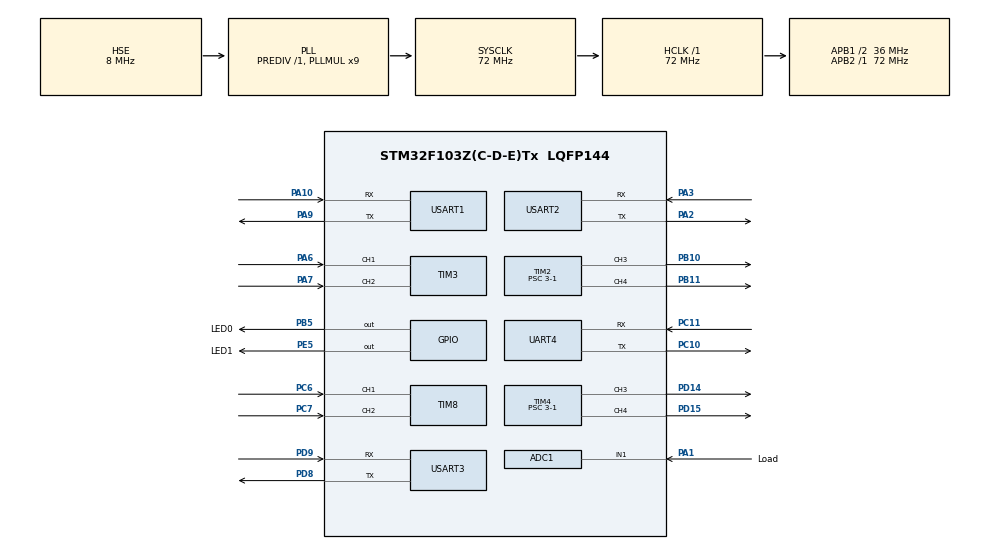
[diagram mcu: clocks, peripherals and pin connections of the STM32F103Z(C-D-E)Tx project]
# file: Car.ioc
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ADC1.Channel-0\#ChannelRegularConversion=ADC_CHANNEL_1
ADC1.NbrOfConversionFlag=1
ADC1.Rank-0\#ChannelRegularConversion=1
ADC1.SamplingTime-0\#ChannelRegularConversion=ADC_SAMPLETIME_1CYCLE_5
ADC1.master=1
Mcu.Family=STM32F1
Mcu.Name=STM32F103Z(C-D-E)Tx
Mcu.Package=LQFP144
NVIC.PriorityGroup=NVIC_PRIORITYGROUP_2
NVIC.TIM6_IRQn=true\:3\:0\:true\:false\:true\:true\:true
NVIC.TIM7_IRQn=true\:1\:0\:true\:false\:true\:true\:true
NVIC.UART4_IRQn=true\:1\:2\:true\:false\:true\:true\:true
NVIC.USART1_IRQn=true\:3\:3\:true\:false\:true\:true\:true
NVIC.USART2_IRQn=true\:2\:0\:true\:false\:true\:true\:true
NVIC.USART3_IRQn=true\:2\:1\:true\:false\:true\:true\:true
OSC_IN.Mode=HSE-External-Oscillator
OSC_IN.Signal=RCC_OSC_IN
OSC_OUT.Mode=HSE-External-Oscillator
OSC_OUT.Signal=RCC_OSC_OUT
PA1.GPIO_Label=Load
PA1.Signal=ADCx_IN1
PA10.Mode=Asynchronous
PA10.Signal=USART1_RX
PA13.Mode=Serial_Wire
PA13.Signal=SYS_JTMS-SWDIO
PA14.Mode=Serial_Wire
PA14.Signal=SYS_JTCK-SWCLK
PA2.Mode=Asynchronous
PA2.Signal=USART2_TX
PA3.Mode=Asynchronous
PA3.Signal=USART2_RX
PA6.Signal=S_TIM3_CH1
PA7.Signal=S_TIM3_CH2
PA9.Mode=Asynchronous
PA9.Signal=USART1_TX
PB10.Signal=S_TIM2_CH3
PB11.Signal=S_TIM2_CH4
PB5.GPIO_Label=LED0
PB5.GPIO_PuPd=GPIO_PULLUP
PB5.Signal=GPIO_Output
PC10.Mode=Asynchronous
PC10.Signal=UART4_TX
PC11.Mode=Asynchronous
PC11.Signal=UART4_RX
PC6.Signal=S_TIM8_CH1
PC7.Signal=S_TIM8_CH2
PD14.Signal=S_TIM4_CH3
PD15.Signal=S_TIM4_CH4
PD8.Mode=Asynchronous
PD8.Signal=USART3_TX
PD9.Mode=Asynchronous
PD9.Signal=USART3_RX
PE5.GPIO_Label=LED1
PE5.GPIO_PuPd=GPIO_PULLUP
PE5.Signal=GPIO_Output
ProjectManager.HeapSize=0x200
ProjectManager.StackSize=0x400
ProjectManager.TargetToolchain=MDK-ARM V5.32
RCC.ADCPresc=RCC_ADCPCLK2_DIV6
RCC.AHBFreq_Value=72000000
RCC.APB1CLKDivider=RCC_HCLK_DIV2
RCC.APB1Freq_Value=36000000
RCC.APB1TimFreq_Value=72000000
RCC.APB2Freq_Value=72000000
RCC.APB2TimFreq_Value=72000000
RCC.HCLKFreq_Value=72000000
RCC.PLLMUL=RCC_PLL_MUL9
RCC.PLLSourceVirtual=RCC_PLLSOURCE_HSE
RCC.SYSCLKFreq_VALUE=72000000
RCC.SYSCLKSource=RCC_SYSCLKSOURCE_PLLCLK
RCC.USBFreq_Value=72000000
SH.ADCx_IN1.0=ADC1_IN1,IN1
SH.S_TIM2_CH3.0=TIM2_CH3,PWM Generation3 CH3
SH.S_TIM2_CH4.0=TIM2_CH4,PWM Generation4 CH4
SH.S_TIM3_CH1.0=TIM3_CH1,Encoder_Interface
SH.S_TIM3_CH2.0=TIM3_CH2,Encoder_Interface
SH.S_TIM4_CH3.0=TIM4_CH3,PWM Generation3 CH3
SH.S_TIM4_CH4.0=TIM4_CH4,PWM Generation4 CH4
SH.S_TIM8_CH1.0=TIM8_CH1,Encoder_Interface
SH.S_TIM8_CH2.0=TIM8_CH2,Encoder_Interface
TIM2.AutoReloadPreload=TIM_AUTORELOAD_PRELOAD_ENABLE
TIM2.Channel-PWM\ Generation3\ CH3=TIM_CHANNEL_3
TIM2.Channel-PWM\ Generation4\ CH4=TIM_CHANNEL_4
TIM2.Period=1000-1
TIM2.Prescaler=3-1
TIM3.EncoderMode=TIM_ENCODERMODE_TI12
TIM4.AutoReloadPreload=TIM_AUTORELOAD_PRELOAD_ENABLE
TIM4.Channel-PWM\ Generation3\ CH3=TIM_CHANNEL_3
TIM4.Channel-PWM\ Generation4\ CH4=TIM_CHANNEL_4
TIM4.Period=1000-1
TIM4.Prescaler=3-1
TIM6.Period=10000-1
TIM6.Prescaler=7200-1
TIM7.Period=200-1
TIM7.Prescaler=7200-1
TIM8.EncoderMode=TIM_ENCODERMODE_TI12
UART4.VirtualMode=Asynchronous
USART1.VirtualMode=VM_ASYNC
USART2.VirtualMode=VM_ASYNC
USART3.VirtualMode=VM_ASYNC
VP_TIM6_VS_ClockSourceINT.Mode=Enable_Timer
VP_TIM7_VS_ClockSourceINT.Mode=Enable_Timer
board=custom

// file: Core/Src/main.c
/* USER CODE BEGIN Header */
/**
  ******************************************************************************
  * @file           : main.c
  * @brief          : Main program body
  ******************************************************************************
  * @attention
  *
  * <h2><center>&copy; Copyright (c) 2023 STMicroelectronics.
  * All rights reserved.</center></h2>
  *
  * This software component is licensed by ST under BSD 3-Clause license,
  * the "License"; You may not use this file except in compliance with the
  * License. You may obtain a copy of the License at:
  *                        opensource.org/licenses/BSD-3-Clause
  *
  ******************************************************************************
  */
/* USER CODE END Header */
#include "main.h"
#include "adc.h"
#include "tim.h"
#include "usart.h"
#include "gpio.h"

/* USER CODE BEGIN Includes */
//#include "oled.h"
//#include "bsp_key.h"
#include "bsp_sys.h"
#include "bsp_delay.h"
#include "control.h"
#include "bsp_led.h"
//#include "menu.h"
//#include "Fire_protocol.h"

#include "bsp_pid.h"
#include "openmv.h"
#include "openmv2.h"
#include "bsp_GraySensor.h"

//#include "bsp_BlueTooth.h"

/* USER CODE END Includes */

/* USER CODE BEGIN PV */
	uint8_t usart1_rxbuff;
	uint8_t usart2_rxbuff;
	uint8_t usart3_rxbuff;
	uint8_t uart4_rxbuff;

	u8 Do_count = 0, Do2_count = 0;

	u16 showOLEDTime = 0;
	u16 SendTime = 0;

	u16 des = 0;

	extern unsigned char BMP3[];
	extern unsigned char BMP4[];

/* USER CODE END PV */

void SystemClock_Config(void);

int main(void)
{

  /* MCU Configuration--------------------------------------------------------*/

  /* Reset of all peripherals, Initializes the Flash interface and the Systick. */
  HAL_Init();

  /* USER CODE BEGIN Init */
	LED_Init();
  /* USER CODE END Init */

  /* Configure the system clock */
  SystemClock_Config();

  /* Initialize all configured peripherals */
  MX_GPIO_Init();
  MX_TIM2_Init();
  MX_TIM3_Init();
  MX_TIM4_Init();
  MX_TIM6_Init();
  MX_TIM7_Init();
  MX_TIM8_Init();
  MX_USART1_UART_Init();
  MX_UART4_Init();
  MX_ADC1_Init();
  MX_USART2_UART_Init();
  MX_USART3_UART_Init();
  /* USER CODE BEGIN 2 */
	HAL_TIM_Encoder_Start(&htim3, TIM_CHANNEL_ALL);   //??TIM3????????
  HAL_TIM_Encoder_Start(&htim8, TIM_CHANNEL_ALL);   //??TIM8????????

	HAL_TIM_PWM_Start(&htim2,TIM_CHANNEL_3);       //Motor 2
	HAL_TIM_PWM_Start(&htim2,TIM_CHANNEL_4);

	HAL_TIM_PWM_Start(&htim4,TIM_CHANNEL_3);     //Motor1
	HAL_TIM_PWM_Start(&htim4,TIM_CHANNEL_4);

	HAL_TIM_Base_Start_IT(&htim7);
	HAL_TIM_Base_Start_IT(&htim6);

	PID_param_init();
	set_motor2_enable();    //?????pid???????????PWM??
	set_motor_enable();

	__HAL_UART_ENABLE_IT(&huart1,UART_IT_RXNE);    //??1????,???????,??????

	//protocol_init();       //????????????????, ????????
	HAL_UART_Receive_IT(&huart4,(void *)&uart4_rxbuff,1);
	HAL_UART_Receive_IT(&huart1,(void *)&usart1_rxbuff,1);
	HAL_UART_Receive_IT(&huart2,(void *)&usart2_rxbuff,1);
	HAL_UART_Receive_IT(&huart3,(void *)&usart3_rxbuff,1);
  /* USER CODE END 2 */

  /* Infinite loop */
  /* USER CODE BEGIN WHILE */
  while (1)
  {
//		receiving_process();   //???????????,??????????PID??
		if (SendTime >= 21)
		{
			SendTime = 0;

//			SendDataToOpenmv();   //不能太快，否则会超过openmv的接收数据缓冲区
//			SendDataToOpenmv2();

		}

		if (showOLEDTime >= 200)
		{
			showOLEDTime = 0;
			//OLED_Display(Menu_Item);

			//			if(OneLoadFlag == 1)
			//			{
			//				BlueSignal_Toggle;
			//			}
						//printf("123");

						/****判断是否有放药品******/
			LoadOrNot();
		}

		/**************等待识别病房号**************/
		if (TASK == 1)
		{
			SetTargetRoom();

		}

		else if (TASK == 2)
		{
			//加上发送给openmv 的数据
			if (Load_flag == 1)    //运送药物
			{
				//近端病房，靠openmv规划	， 用来测试二车性能
				if (TargetRoom == 1)
				{
					switch (Do_count)
					{
					case 0:
						Do_count++;
						Car_go_new();   //此时 Stop_Flag ==0  完成后自动置1        //近端病房不预留openmv识别的位置

						break;

					case 1:
						if (Stop_Flag == 1)          //直行、转弯函数交替使用时，可以不手动将标志位清零
						{
							Do_count++;
							spin_Turn(left_90);   //此时Spin_succeed_flag== 0 ,完成后自动置1
						}
						break;

					case 2:
						if (Spin_succeed_flag == 1)
						{
							Do_count++;
							Car_go_new();      //Stop_Flag再次置1   +3是为了进停车区
						}
						break;

					case	3:
						if (Stop_Flag == 1)
						{
							RedSignal_on;//点亮红色指示灯
							des = 1;
						}
						break;
					}
				}

				else if (TargetRoom == 2)
				{
					switch (Do_count)
					{
					case 0:
						Do_count++;

						Car_go_new();  //此时 Stop_Flag ==0  完成后自动置1        //近端病房不预留openmv识别的位置

						break;

					case 1:
						if (Stop_Flag == 1)
						{
							Do_count++;
							spin_Turn(right_90);   //此时Spin_succeed_flag== 0 ,完成后自动置1
						}
						break;

					case 2:
						if (Spin_succeed_flag == 1)
						{
							Do_count++;
							Car_go_new();;        //Stop_Flag再次置1   +3是为了进停车区
						}
						break;

					case	3:
						if (Stop_Flag == 1)
						{

							RedSignal_on;
							des = 2;
						}
						break;
					}
				}

//				if (OneLoadFlag == 1)
//				{
//					//去中端送药，靠一车等待目标房号来确定，不用返回
				if (TargetRoom == 3 ||
						TargetRoom == 4 ||
						TargetRoom == 5 ||
						TargetRoom == 6 ||
						TargetRoom == 7 ||
						TargetRoom == 8 )
				{
					switch (Do_count)
					{
					case 0://第一段直线
						Do_count++;
						Car_go_new();    //此时 Stop_Flag ==0  完成后自动置1        //近端病房不预留openmv识别的位置

						break;

					case 1:
						if (Stop_Flag == 1)
						{
							Do_count++;
							Car_go(10);   //此时Spin_succeed_flag== 0 ,完成后自动置1

						}
						break;

					case 2://第二段直线
						Do_count++;
						Car_go_new();    //此时 Stop_Flag ==0  完成后自动置1        //近端病房不预留openmv识别的位置

						break;

					case 3:
						if(TargetRoom == l1)
							Do_count = 4;
						else if(TargetRoom == r1)
							Do_count = 7;
						else
							Do_count = 10;
						break;

					case 4:
						if (Stop_Flag == 1)          //直行、转弯函数交替使用时，可以不手动将标志位清零
						{
							Do_count++;
							spin_Turn(left_90);   //此时Spin_succeed_flag== 0 ,完成后自动置1
						}
						break;

					case 5:
						if (Spin_succeed_flag == 1)
						{
							Do_count++;
							Car_go_new();      //Stop_Flag再次置1   +3是为了进停车区
						}
						break;

					case 6:
						if (Stop_Flag == 1)
						{
							RedSignal_on;//点亮红色指示灯
							des = 3;
						}
						break;

					case 7:
						if (Stop_Flag == 1)
						{
							Do_count++;
							spin_Turn(right_90);   //此时Spin_succeed_flag== 0 ,完成后自动置1
						}
						break;

					case 8:
						if (Spin_succeed_flag == 1)
						{
							Do_count++;
							Car_go_new();;        //Stop_Flag再次置1   +3是为了进停车区
						}
						break;

					case 9:
						if (Stop_Flag == 1)
						{
							RedSignal_on;//点亮红色指示灯
							des = 4;
						}
						break;

					case 10:
						if (Stop_Flag == 1)
						{
							Do_count++;
							Car_go(10);   //此时Spin_succeed_flag== 0 ,完成后自动置1

						}
						break;

					case 11://第三段直线
						Do_count++;
						Car_go_new();    //此时 Stop_Flag ==0  完成后自动置1        //近端病房不预留openmv识别的位置

						break;

					case 12:
						if(TargetRoom == l1 || TargetRoom == l2)
							Do_count = 13;
						else if(TargetRoom == r1 || TargetRoom == r2)
							Do_count = 22;
						break;

					case 13:
						if(Stop_Flag == 1)          //直行、转弯函数交替使用时，可以不手动将标志位清零
						{
							Do_count++;
							spin_Turn(left_90);   //此时Spin_succeed_flag== 0 ,完成后自动置1
						}
						break;

					case 14://
						if (Spin_succeed_flag == 1)
						{
							Do_count++;
							Car_go_new();;        //Stop_Flag再次置1   +3是为了进停车区
						}
						break;

					case 15:
						if(TargetRoom == l1)
							Do_count = 16;
						else if(TargetRoom == r1)
							Do_count = 19;
						break;

					case 16:
						if(Stop_Flag == 1)          //直行、转弯函数交替使用时，可以不手动将标志位清零
						{
							Do_count++;
							spin_Turn(left_90);   //此时Spin_succeed_flag== 0 ,完成后自动置1
						}
						break;

					case 17:
						if (Spin_succeed_flag == 1)
						{
							Do_count++;
							Car_go_new();;        //Stop_Flag再次置1   +3是为了进停车区
						}
						break;

					case 18:
						if (Stop_Flag == 1)
						{
							RedSignal_on;//点亮红色指示灯
							des = 5;
						}
						break;

					case 19:
						if(Stop_Flag == 1)          //直行、转弯函数交替使用时，可以不手动将标志位清零
						{
							Do_count++;
							spin_Turn(right_90);   //此时Spin_succeed_flag== 0 ,完成后自动置1
						}
						break;

					case 20:
						if (Spin_succeed_flag == 1)
						{
							Do_count++;
							Car_go_new();;        //Stop_Flag再次置1   +3是为了进停车区
						}
						break;

					case 21:
						if (Stop_Flag == 1)
						{
							RedSignal_on;//点亮红色指示灯
							des = 6;
						}
						break;

					case 22:
						if(Stop_Flag == 1)          //直行、转弯函数交替使用时，可以不手动将标志位清零
						{
							Do_count++;
							spin_Turn(right_90);   //此时Spin_succeed_flag== 0 ,完成后自动置1
						}
						break;

					case 23://
						if (Spin_succeed_flag == 1)
						{
							Do_count++;
							Car_go_new();;        //Stop_Flag再次置1   +3是为了进停车区
						}
						break;

					case 24:
						if(TargetRoom == l1)
							Do_count = 25;
						else if(TargetRoom == r1)
							Do_count = 28;
						break;

					case 25:
						if(Stop_Flag == 1)          //直行、转弯函数交替使用时，可以不手动将标志位清零
						{
							Do_count++;
							spin_Turn(left_90);   //此时Spin_succeed_flag== 0 ,完成后自动置1
						}
						break;

					case 26:
						if (Spin_succeed_flag == 1)
						{
							Do_count++;
							Car_go_new();;        //Stop_Flag再次置1   +3是为了进停车区
						}
						break;

					case 27:
						if (Stop_Flag == 1)
						{
							RedSignal_on;//点亮红色指示灯
							des = 7;
						}
						break;

					case 28:
						if(Stop_Flag == 1)          //直行、转弯函数交替使用时，可以不手动将标志位清零
						{
							Do_count++;
							spin_Turn(right_90);   //此时Spin_succeed_flag== 0 ,完成后自动置1
						}
						break;

					case 29:
						if (Spin_succeed_flag == 1)
						{
							Do_count++;
							Car_go_new();;        //Stop_Flag再次置1   +3是为了进停车区
						}
						break;

					case 30:
						if (Stop_Flag == 1)
						{
							RedSignal_on;//点亮红色指示灯
							des = 8;
						}
						break;

					}
				}

			}

			else if (Load_flag == 2)       // 只在近端才返回,用来测试二车控制效果
			{
				if (des == 1)
				{
					switch (Do2_count)
					{
					case 0:
						Do2_count++;

						spin_Turn(back_180);
						RedSignal_off; //关闭红色指示灯

						break;

					case 1:
						if (Spin_succeed_flag == 1)
						{
							Do2_count++;
							Car_go_new();   //此时 Stop_Flag ==0  完成后自动置1        //近端病房不预留openmv识别的位置
						}
						break;

					case 2:
						if (Stop_Flag == 1)
						{
							Do2_count++;
							spin_Turn(right_90);   //此时Spin_succeed_flag== 0 ,完成后自动置1
						}
						break;

					case 3:
						if (Spin_succeed_flag == 1)
						{
							Do2_count++;
							Car_go_new();   //Stop_Flag再次置1
						}
						break;

					case	4:
						if (Stop_Flag == 1)
						{

							GreenSignal_on; //点亮绿色指示灯
						}
						break;
					}

				}

				else if (des == 2)
				{
					switch (Do2_count)
					{
					case 0:
						Do2_count++;

						spin_Turn(back_180);
						RedSignal_off; //关闭红色指示灯

						break;

					case 1:
						if (Spin_succeed_flag == 1)
						{
							Do2_count++;
							Car_go_new();     //此时 Stop_Flag ==0  完成后自动置1        //近端病房不预留openmv识别的位置
						}
						break;

					case 2:
						if (Stop_Flag == 1)
						{
							Do2_count++;
							spin_Turn(left_90);   //此时Spin_succeed_flag== 0 ,完成后自动置1
						}
						break;

					case 3:
						if (Spin_succeed_flag == 1)
						{

							Do2_count++;
							Car_go_new();    //Stop_Flag再次置1

						}
						break;

					case	4:
						if (Stop_Flag == 1)
						{

							GreenSignal_on; //点亮绿色指示灯

						}
						break;
					}
				}

				else if(des == 3)
				{
					switch (Do2_count)
					{
					case 0:
						Do2_count++;

						spin_Turn(back_180);
						RedSignal_off; //关闭红色指示灯

						break;

					case 1:
						if (Spin_succeed_flag == 1)
						{
							Do2_count++;
							Car_go_new();     //此时 Stop_Flag ==0  完成后自动置1        //近端病房不预留openmv识别的位置
						}
						break;

					case 2:
						if (Stop_Flag == 1)
						{
							Do2_count++;
							spin_Turn(right_90);   //此时Spin_succeed_flag== 0 ,完成后自动置1
						}
						break;

					case 3:
						if (Spin_succeed_flag == 1)
						{
							Do2_count++;
							Car_go_new();    //Stop_Flag再次置1

						}
						break;

					case 4:
						if (Stop_Flag == 1)
						{
							Do_count++;
							Car_go(10);   //此时Spin_succeed_flag== 0 ,完成后自动置1

						}
						break;

					case 5:
						if (Spin_succeed_flag == 1)
						{
							Do2_count++;
							Car_go_new();    //Stop_Flag再次置1

						}
						break;

					case	6:
						if (Stop_Flag == 1)
						{
							GreenSignal_on; //点亮绿色指示灯
						}
						break;
					}
				}

				else if(des == 4)
				{
					switch (Do2_count)
					{
					case 0:
						Do2_count++;

						spin_Turn(back_180);
						RedSignal_off; //关闭红色指示灯

						break;

					case 1:
						if (Spin_succeed_flag == 1)
						{
							Do2_count++;
							Car_go_new();     //此时 Stop_Flag ==0  完成后自动置1        //近端病房不预留openmv识别的位置
						}
						break;

					case 2:
						if (Stop_Flag == 1)
						{
							Do2_count++;
							spin_Turn(left_90);   //此时Spin_succeed_flag== 0 ,完成后自动置1
						}
						break;

					case 3:
						if (Spin_succeed_flag == 1)
						{
							Do2_count++;
							Car_go_new();    //Stop_Flag再次置1

						}
						break;

					case 4:
						if (Stop_Flag == 1)
						{
							Do_count++;
							Car_go(10);   //此时Spin_succeed_flag== 0 ,完成后自动置1

						}
						break;

					case 5:
						if (Spin_succeed_flag == 1)
						{
							Do2_count++;
							Car_go_new();    //Stop_Flag再次置1

						}
						break;

					case	6:
						if (Stop_Flag == 1)
						{
							GreenSignal_on; //点亮绿色指示灯
						}
						break;
					}
				}

				else if(des == 5)
				{
					switch (Do2_count)
					{
					case 0:
						Do2_count++;

						spin_Turn(back_180);
						RedSignal_off; //关闭红色指示灯

						break;

					case 1://走1
						if (Spin_succeed_flag == 1)
						{
							Do2_count++;
							Car_go_new();     //此时 Stop_Flag ==0  完成后自动置1        //近端病房不预留openmv识别的位置
						}
						break;

					case 2:
						if (Stop_Flag == 1)
						{
							Do2_count++;
							spin_Turn(right_90);   //此时Spin_succeed_flag== 0 ,完成后自动置1
						}
						break;

					case 3://走2
						if (Spin_succeed_flag == 1)
						{
							Do2_count++;
							Car_go_new();    //Stop_Flag再次置1

						}
						break;

					case 4:
						if (Stop_Flag == 1)
						{
							Do2_count++;
							spin_Turn(right_90);   //此时Spin_succeed_flag== 0 ,完成后自动置1
						}
						break;

					case 5://走3
						if (Spin_succeed_flag == 1)
						{
							Do2_count++;
							Car_go_new();    //Stop_Flag再次置1
						}
						break;

					case 6:
						if (Stop_Flag == 1)
						{
							Do_count++;
							Car_go(10);   //此时Spin_succeed_flag== 0 ,完成后自动置1
						}
						break;

					case 7://走4
							Do2_count++;
							Car_go_new();
						break;

					case 8:
						if (Stop_Flag == 1)
						{
							Do_count++;
							Car_go(10);   //此时Spin_succeed_flag== 0 ,完成后自动置1
						}
						break;

					case 9://走5
							Do2_count++;
							Car_go_new();
						break;

					case 10:
						if (Stop_Flag == 1)
						{
							GreenSignal_on; //点亮绿色指示灯
						}
						break;
					}
				}

				else if(des == 6)
				{
					switch (Do2_count)
					{
					case 0:
						Do2_count++;

						spin_Turn(back_180);
						RedSignal_off; //关闭红色指示灯

						break;

					case 1://走1
						if (Spin_succeed_flag == 1)
						{
							Do2_count++;
							Car_go_new();     //此时 Stop_Flag ==0  完成后自动置1        //近端病房不预留openmv识别的位置
						}
						break;

					case 2:
						if (Stop_Flag == 1)
						{
							Do2_count++;
							spin_Turn(left_90);   //此时Spin_succeed_flag== 0 ,完成后自动置1
						}
						break;

					case 3://走2
						if (Spin_succeed_flag == 1)
						{
							Do2_count++;
							Car_go_new();    //Stop_Flag再次置1

						}
						break;

					case 4:
						if (Stop_Flag == 1)
						{
							Do2_count++;
							spin_Turn(right_90);   //此时Spin_succeed_flag== 0 ,完成后自动置1
						}
						break;

					case 5://走3
						if (Spin_succeed_flag == 1)
						{
							Do2_count++;
							Car_go_new();    //Stop_Flag再次置1
						}
						break;

					case 6:
						if (Stop_Flag == 1)
						{
							Do_count++;
							Car_go(10);   //此时Spin_succeed_flag== 0 ,完成后自动置1
						}
						break;

					case 7://走4
							Do2_count++;
							Car_go_new();
						break;

					case 8:
						if (Stop_Flag == 1)
						{
							Do_count++;
							Car_go(10);   //此时Spin_succeed_flag== 0 ,完成后自动置1
						}
						break;

					case 9://走5
							Do2_count++;
							Car_go_new();
						break;

					case 10:
						if (Stop_Flag == 1)
						{
							GreenSignal_on; //点亮绿色指示灯
						}
						break;
					}
				}

				else if(des == 7)
				{
					switch (Do2_count)
					{
					case 0:
						Do2_count++;

						spin_Turn(back_180);
						RedSignal_off; //关闭红色指示灯

						break;

					case 1://走1
						if (Spin_succeed_flag == 1)
						{
							Do2_count++;
							Car_go_new();     //此时 Stop_Flag ==0  完成后自动置1        //近端病房不预留openmv识别的位置
						}
						break;

					case 2:
						if (Stop_Flag == 1)
						{
							Do2_count++;
							spin_Turn(right_90);   //此时Spin_succeed_flag== 0 ,完成后自动置1
						}
						break;

					case 3://走2
						if (Spin_succeed_flag == 1)
						{
							Do2_count++;
							Car_go_new();    //Stop_Flag再次置1

						}
						break;

					case 4:
						if (Stop_Flag == 1)
						{
							Do2_count++;
							spin_Turn(left_90);   //此时Spin_succeed_flag== 0 ,完成后自动置1
						}
						break;

					case 5://走3
						if (Spin_succeed_flag == 1)
						{
							Do2_count++;
							Car_go_new();    //Stop_Flag再次置1
						}
						break;

					case 6:
						if (Stop_Flag == 1)
						{
							Do_count++;
							Car_go(10);   //此时Spin_succeed_flag== 0 ,完成后自动置1
						}
						break;

					case 7://走4
							Do2_count++;
							Car_go_new();
						break;

					case 8:
						if (Stop_Flag == 1)
						{
							Do_count++;
							Car_go(10);   //此时Spin_succeed_flag== 0 ,完成后自动置1
						}
						break;

					case 9://走5
							Do2_count++;
							Car_go_new();
						break;

					case 10:
						if (Stop_Flag == 1)
						{
							GreenSignal_on; //点亮绿色指示灯
						}
						break;
					}
				}

				else if(des == 8)
				{
					switch (Do2_count)
					{
					case 0:
						Do2_count++;

						spin_Turn(back_180);
						RedSignal_off; //关闭红色指示灯

						break;

					case 1://走1
						if (Spin_succeed_flag == 1)
						{
							Do2_count++;
							Car_go_new();     //此时 Stop_Flag ==0  完成后自动置1        //近端病房不预留openmv识别的位置
						}
						break;

					case 2:
						if (Stop_Flag == 1)
						{
							Do2_count++;
							spin_Turn(left_90);   //此时Spin_succeed_flag== 0 ,完成后自动置1
						}
						break;

					case 3://走2
						if (Spin_succeed_flag == 1)
						{
							Do2_count++;
							Car_go_new();    //Stop_Flag再次置1

						}
						break;

					case 4:
						if (Stop_Flag == 1)
						{
							Do2_count++;
							spin_Turn(left_90);   //此时Spin_succeed_flag== 0 ,完成后自动置1
						}
						break;

					case 5://走3
						if (Spin_succeed_flag == 1)
						{
							Do2_count++;
							Car_go_new();    //Stop_Flag再次置1
						}
						break;

					case 6:
						if (Stop_Flag == 1)
						{
							Do_count++;
							Car_go(10);   //此时Spin_succeed_flag== 0 ,完成后自动置1
						}
						break;

					case 7://走4
							Do2_count++;
							Car_go_new();
						break;

					case 8:
						if (Stop_Flag == 1)
						{
							Do_count++;
							Car_go(10);   //此时Spin_succeed_flag== 0 ,完成后自动置1
						}
						break;

					case 9://走5
							Do2_count++;
							Car_go_new();
						break;

					case 10:
						if (Stop_Flag == 1)
						{
							GreenSignal_on; //点亮绿色指示灯
						}
						break;
					}
				}

			}

		}

    /* USER CODE END WHILE */

  }
}

void SystemClock_Config(void)
{
  RCC_OscInitTypeDef RCC_OscInitStruct = {0};
  RCC_ClkInitTypeDef RCC_ClkInitStruct = {0};
  RCC_PeriphCLKInitTypeDef PeriphClkInit = {0};

  /** Initializes the RCC Oscillators according to the specified parameters
  * in the RCC_OscInitTypeDef structure.
  */
  RCC_OscInitStruct.OscillatorType = RCC_OSCILLATORTYPE_HSE;
  RCC_OscInitStruct.HSEState = RCC_HSE_ON;
  RCC_OscInitStruct.HSEPredivValue = RCC_HSE_PREDIV_DIV1;
  RCC_OscInitStruct.HSIState = RCC_HSI_ON;
  RCC_OscInitStruct.PLL.PLLState = RCC_PLL_ON;
  RCC_OscInitStruct.PLL.PLLSource = RCC_PLLSOURCE_HSE;
  RCC_OscInitStruct.PLL.PLLMUL = RCC_PLL_MUL9;
  if (HAL_RCC_OscConfig(&RCC_OscInitStruct) != HAL_OK)
  {
    Error_Handler();
  }
  /** Initializes the CPU, AHB and APB buses clocks
  */
  RCC_ClkInitStruct.ClockType = RCC_CLOCKTYPE_HCLK|RCC_CLOCKTYPE_SYSCLK
                              |RCC_CLOCKTYPE_PCLK1|RCC_CLOCKTYPE_PCLK2;
  RCC_ClkInitStruct.SYSCLKSource = RCC_SYSCLKSOURCE_PLLCLK;
  RCC_ClkInitStruct.AHBCLKDivider = RCC_SYSCLK_DIV1;
  RCC_ClkInitStruct.APB1CLKDivider = RCC_HCLK_DIV2;
  RCC_ClkInitStruct.APB2CLKDivider = RCC_HCLK_DIV1;

  if (HAL_RCC_ClockConfig(&RCC_ClkInitStruct, FLASH_LATENCY_2) != HAL_OK)
  {
    Error_Handler();
  }
  PeriphClkInit.PeriphClockSelection = RCC_PERIPHCLK_ADC;
  PeriphClkInit.AdcClockSelection = RCC_ADCPCLK2_DIV6;
  if (HAL_RCCEx_PeriphCLKConfig(&PeriphClkInit) != HAL_OK)
  {
    Error_Handler();
  }
}

/* USER CODE BEGIN 4 */
void HAL_UART_RxCpltCallback(UART_HandleTypeDef *huart)
{
  uint16_t tem1;
  if(huart->Instance==UART4)
  {
    tem1=uart4_rxbuff;
    Openmv_Receive_Data(tem1);
  }
	HAL_UART_Receive_IT(&huart4,(void *)&uart4_rxbuff,1);

	uint16_t tem2;
  if(huart->Instance==USART2)
  {
    tem2=usart2_rxbuff;
    k210_1_Receive_Data(tem2);
  }
	HAL_UART_Receive_IT(&huart2,(void *)&usart2_rxbuff,1);

	uint16_t tem3;
  if(huart->Instance==USART3)
  {
    tem3=usart3_rxbuff;
    k210_2_Receive_Data(tem3);
  }
	HAL_UART_Receive_IT(&huart3,(void *)&usart3_rxbuff,1);
}

/* USER CODE END 4 */

void Error_Handler(void)
{
  __disable_irq();
  while (1)
  {
  }
}

/************************ (C) COPYRIGHT STMicroelectronics *****END OF FILE****/
